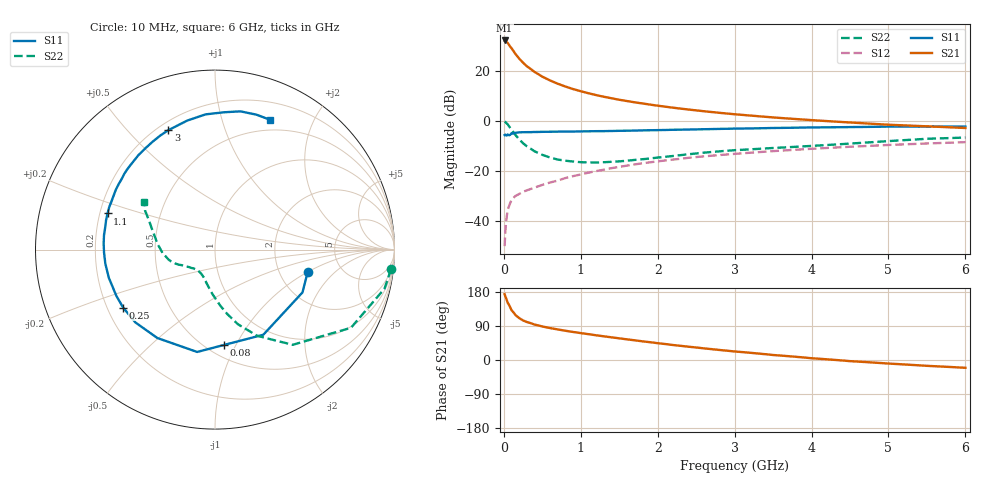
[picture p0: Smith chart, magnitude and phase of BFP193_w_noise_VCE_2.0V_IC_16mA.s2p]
! Infineon Technologies  Discrete & RF Semiconductors
! BFP193
! VCE =  2.0 V,  IC =  16 mA
! Common Emitter S-Parameters:  Jan 2017
# GHz  S  MA  R  50
!  f  S11  S21  S12  S22
! GHz  MAG  ANG  MAG  ANG  MAG  ANG  MAG  ANG
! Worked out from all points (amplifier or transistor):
!   77 points, 10 MHz to 6 GHz, reference 50 ohm
!   highest |S21| = 32.3 dB at 10 MHz (marker M1)
!   |S21| within 3 dB of that: start of sweep to 96.84 MHz
!   unconditionally stable (mu >= 1): 893.8 MHz to 2.674 GHz
!   at 130 MHz: K = 0.33, MSG = 29.2 dB, |S12| = -30.5 dB
!   at 2.2 GHz: K = 1.02, MAG = 9.4 dB, |S12| = -15.3 dB
!   at 6 GHz: K = 0.92, MSG = 2.8 dB, |S12| = -8.3 dB
!   lowest NFmin = 0.97 dB at 450 MHz
!   S11 on the Smith chart (normalised r, x): 10 MHz: 2.89, -0.99; 80 MHz: 0.60, -0.90; 250 MHz: 0.27, -0.27; 1.1 GHz: 0.23, +0.16; 3 GHz: 0.24, +0.65; 6 GHz: 0.38, +1.44
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0.01  0.5314 -13.3  41.23 173.8  0.0032 80.3  0.9867 -6.3
0.02  0.5427 -26.1  41.08 167.8  0.0065 82.6  0.9695 -12.9
0.05  0.5454 -60.4  36.81 151.1  0.0167 66.4  0.8738 -29.9
0.08  0.534 -84.8  31.52 140.3  0.0227 59.3  0.7478 -41.2
0.1  0.5789 -99.9  28.8 131.2  0.0269 56.4  0.6847 -50.8
0.15  0.5881 -123.1  22.26 118.8  0.0322 49.2  0.5347 -63.9
0.2  0.6013 -137.6  17.87 110.5  0.0354 47.2  0.4353 -72.9
0.25  0.6052 -147.7  14.79 104.4  0.0391 46.4  0.3647 -79.3
0.3  0.607 -154.9  12.55 100.2  0.0418 47.5  0.3147 -84.5
0.4  0.6121 -165.2  9.663 93.4  0.0473 49.1  0.2513 -92.8
0.5  0.616 -172.7  7.799 88.5  0.0536 50.7  0.2137 -99.3
0.6  0.6185 -178.5  6.559 84.3  0.0598 52.7  0.1893 -105.0
0.7  0.6214 176.7  5.638 80.7  0.0654 54.9  0.1724 -109.7
0.9  0.6242 168.5  4.405 74.0  0.0802 56.0  0.157 -118.3
1.1  0.6317 161.4  3.636 68.2  0.0942 56.4  0.1512 -125.5
1.5  0.6454 148.8  2.695 57.2  0.1228 54.9  0.1584 -138.3
2.1  0.671 131.9  1.958 42.1  0.1651 49.9  0.1955 -152.5
3  0.7143 111.4  1.383 22.5  0.2235 40.4  0.2646 -167.9
3.1  0.717 109.5  1.343 20.9  0.2294 39.3  0.2698 -169.7
4.1  0.7564 92.4  1.033 3.3  0.2876 28.5  0.329 171.9
5.1  0.783 78.3  0.842 -10.5  0.3412 17.3  0.4111 154.9
6  0.7858 66.9  0.735 -20.6  0.3831 7.3  0.4737 146.1
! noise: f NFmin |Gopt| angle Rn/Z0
0.45  0.97  0.24  173  0.07
0.9  1.06  0.36  179  0.07
1.9  1.74  0.56  -142  0.14
2.4  2.05  0.62  -125  0.33
